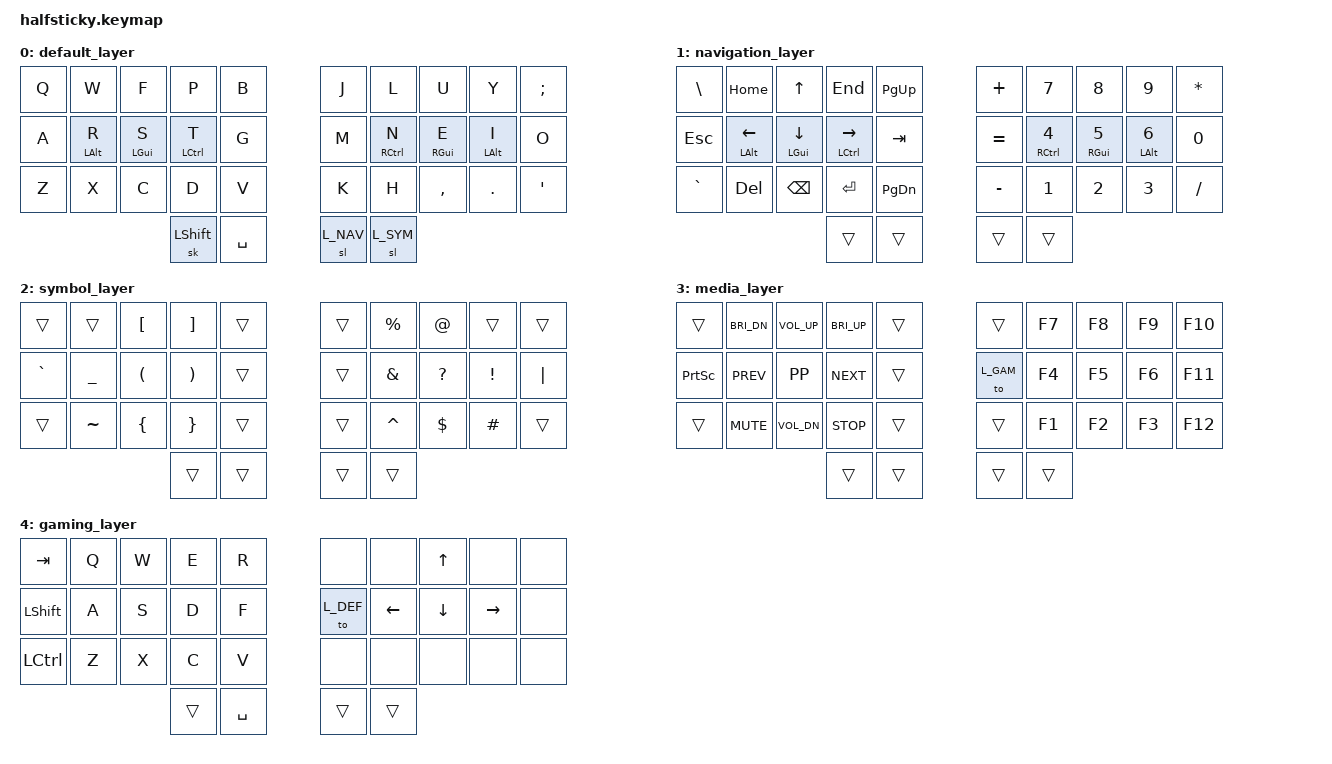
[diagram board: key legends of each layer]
/*
 * Copyright (c) 2020 The ZMK Contributors
 *
 * SPDX-License-Identifier: MIT
 */

#include <behaviors.dtsi>
#include <dt-bindings/zmk/bt.h>
#include <dt-bindings/zmk/keys.h>

// GENERAL KEYS
#define GEN_NONE &none
#define GEN_TRAN &trans

// DEFAULT LAYER

#define L_DEF 0

#define DEF_Q &kp Q
#define DEF_W &kp W
#define DEF_F &kp F
#define DEF_P &kp P
#define DEF_B &kp B
                        
#define DEF_A &kp A 
#define DEF_R &mt LALT R 
#define DEF_S &mt LGUI S
#define DEF_T &mt LCTRL T 
#define DEF_G &kp G
        
#define DEF_Z &kp Z
#define DEF_X &kp X
#define DEF_C &kp C
#define DEF_D &kp D
#define DEF_V &kp V
                        

#define DEF_J &kp J
#define DEF_L &kp L
#define DEF_U &kp U
#define DEF_Y &kp Y
#define DEF_SEMI &kp SEMI

#define DEF_K &kp K
#define DEF_H &kp H
#define DEF_COMA &kp COMMA
#define DEF_DOT &kp DOT
#define DEF_QUOT &kp SQT

#define DEF_M &kp M
#define DEF_N &mt RCTL N
#define DEF_E &mt RGUI E
#define DEF_I &mt LALT I 
#define DEF_O &kp O

#define DEF_TAB &sk LSHIFT
#define DEF_SPC &kp SPC
#define DEF_BSPC &sl L_NAV
#define DEF_RET &sl L_SYM

// NAVIGATION LAYER
#define L_NAV 1

#define NAV_BSLH &kp BSLH
#define NAV_HOME &kp HOME
#define NAV_UP &kp UP
#define NAV_END &kp END
#define NAV_PGUP &kp PG_UP

#define NAV_ESC &kp ESC
#define NAV_LEFT &mt LALT LEFT
#define NAV_DOWN &mt LGUI DOWN
#define NAV_RGHT &mt LCTRL RIGHT
#define NAV_TAB &kp TAB

#define NAV_GRV &kp GRAVE
#define NAV_DEL &kp DEL
#define NAV_BSPC &kp BSPC
#define NAV_RET &kp RET
#define NAV_PGDN &kp PG_DN

#define NUM_PLUS &kp PLUS
#define NUM_N7 &kp N7 
#define NUM_N8 &kp N8
#define NUM_N9 &kp N9
#define NUM_AST &kp ASTERISK 

#define NUM_EQUL &kp EQUAL
#define NUM_N4 &mt RCTRL N4
#define NUM_N5 &mt RGUI N5
#define NUM_N6 &mt LALT N6
#define NUM_N0 &kp N0

#define NUM_MIN &kp MINUS
#define NUM_N1 &kp N1
#define NUM_N2 &kp N2
#define NUM_N3 &kp N3
#define NUM_FSLH &kp FSLH

// SYMBOLS LAYER
#define L_SYM 2
// ()?_![]{}`~\|@#$%^&
// -*+/=1234567890

#define SYM_LBKT &kp LBKT
#define SYM_RBKT &kp RBKT

#define SYM_GRV &kp GRAVE
#define SYM_UNDR &kp UNDER
#define SYM_LPAR &kp LPAR
#define SYM_RPAR &kp RPAR

#define SYM_TLDE &kp TILDE
#define SYM_LBRC &kp LBRC
#define SYM_RBRC &kp RBRC


#define SYM_PER &kp PERCENT
#define SYM_AT &kp AT

#define SYM_AND &kp AMPERSAND
#define SYM_QUES &kp QUESTION
#define SYM_EXCL &kp EXCLAMATION
#define SYM_PIPE &kp PIPE

#define SYM_CAR &kp CARET
#define SYM_DOL &kp DOLLAR
#define SYM_HASH &kp HASH

// MEDIA LAYER
#define L_MED 3

#define MED_BRID &kp C_BRI_DN
#define MED_VOLU &kp C_VOL_UP
#define MED_BRIU &kp C_BRI_UP


#define MED_PRNT &kp PSCRN
#define MED_PREV &kp C_PREV
#define MED_PLAY &kp K_PP
#define MED_NEXT &kp C_NEXT

#define MED_MUTE &kp C_MUTE
#define MED_VOLD &kp C_VOL_DN
#define MED_STOP &kp C_STOP

#define FUN_F7 &kp F7
#define FUN_F8 &kp F8
#define FUN_F9 &kp F9
#define FUN_F10 &kp F10

#define FUN_GAME &to L_GAM
#define FUN_F4 &kp F4
#define FUN_F5 &kp F5
#define FUN_F6 &kp F6
#define FUN_F11 &kp F11

#define FUN_BOOT &bootloader
#define FUN_F1 &kp F1
#define FUN_F2 &kp F2
#define FUN_F3 &kp F3
#define FUN_F13 &kp F12


// GAMING LAYER
#define L_GAM 4

#define GAM_TAB &kp TAB
#define GAM_Q &kp Q
#define GAM_W &kp W
#define GAM_E &kp E
#define GAM_R &kp R

#define GAM_LSFT &kp LSHIFT
#define GAM_A &kp A
#define GAM_S &kp S
#define GAM_D &kp D
#define GAM_F &kp F

#define GAM_LCTL &kp LCTRL
#define GAM_Z &kp Z
#define GAM_X &kp X
#define GAM_C &kp C
#define GAM_V &kp V


#define GAM_UP &kp UP

#define GAM_DEF &to L_DEF
#define GAM_LEFT &kp LEFT
#define GAM_DOWN &kp DOWN
#define GAM_RGHT &kp RIGHT

#define GAM_ESC &kp ESC
#define GAM_SPC &kp SPACE


&sk {
    release-after-ms = <1000>;
    quick-release;
};

&sl {
    release-after-ms = <1000>;
};

&mt {
  flavor = "tap-preferred";
  tapping_term_ms = <200>;
};

&lt {
  flavor = "tap-preferred";
  tapping_term_ms = <200>;
};

/ {
  combos {
    compatible = "zmk,combos";
    combo_bspc {
      timeout-ms = <50>;
      key-positions = <15 16>;
      bindings = <&kp BSPC>;
    };

    combo_ret {
      timeout-ms = <50>;
      key-positions = <13 14>;
      bindings = <&kp RET>;
    };

    combo_esc {
      timeout-ms = <50>;
      key-positions = <23 24>;
      bindings = <&kp ESC>;
    };

    combo_del {
      timeout-ms = <50>;
      key-positions = <25 26>;
      bindings = <&kp DEL>;
    };

    combo_bootloader {
      timeout-ms = <50>;
      key-positions = <0 20>;
      bindings = <&bootloader>;
    };

    combo_btclr {
      timeout-ms = <50>;
      key-positions = <2 22>;
      bindings = <&bt BT_CLR>;
    };
  };

  keymap {
    compatible = "zmk,keymap";

    default_layer {
      bindings = <
        DEF_Q    DEF_W    DEF_F    DEF_P    DEF_B          DEF_J    DEF_L    DEF_U    DEF_Y    DEF_SEMI
        DEF_A    DEF_R    DEF_S    DEF_T    DEF_G          DEF_M    DEF_N    DEF_E    DEF_I    DEF_O
        DEF_Z    DEF_X    DEF_C    DEF_D    DEF_V          DEF_K    DEF_H    DEF_COMA DEF_DOT  DEF_QUOT
                                   DEF_TAB  DEF_SPC        DEF_BSPC  DEF_RET
      >;
    };

    navigation_layer {
      bindings = <
        NAV_BSLH NAV_HOME NAV_UP   NAV_END  NAV_PGUP       NUM_PLUS NUM_N7    NUM_N8    NUM_N9    NUM_AST
        NAV_ESC  NAV_LEFT NAV_DOWN NAV_RGHT NAV_TAB        NUM_EQUL NUM_N4    NUM_N5    NUM_N6    NUM_N0
        NAV_GRV  NAV_DEL  NAV_BSPC NAV_RET  NAV_PGDN       NUM_MIN  NUM_N1    NUM_N2    NUM_N3    NUM_FSLH
                                   GEN_TRAN GEN_TRAN       GEN_TRAN GEN_TRAN
      >;
    };

    symbol_layer {
      bindings = <
        GEN_TRAN GEN_TRAN SYM_LBKT SYM_RBKT GEN_TRAN       GEN_TRAN SYM_PER  SYM_AT   GEN_TRAN GEN_TRAN
        SYM_GRV  SYM_UNDR SYM_LPAR SYM_RPAR GEN_TRAN       GEN_TRAN SYM_AND  SYM_QUES SYM_EXCL SYM_PIPE
        GEN_TRAN SYM_TLDE SYM_LBRC SYM_RBRC GEN_TRAN       GEN_TRAN SYM_CAR  SYM_DOL  SYM_HASH GEN_TRAN
                                   GEN_TRAN GEN_TRAN       GEN_TRAN GEN_TRAN
      >;
    };

    media_layer {
      bindings = <
        GEN_TRAN MED_BRID MED_VOLU MED_BRIU GEN_TRAN       GEN_TRAN FUN_F7   FUN_F8   FUN_F9   FUN_F10
        MED_PRNT MED_PREV MED_PLAY MED_NEXT GEN_TRAN       FUN_GAME FUN_F4   FUN_F5   FUN_F6   FUN_F11
        GEN_TRAN MED_MUTE MED_VOLD MED_STOP GEN_TRAN       GEN_TRAN FUN_F1   FUN_F2   FUN_F3   FUN_F13
                                   GEN_TRAN GEN_TRAN       GEN_TRAN GEN_TRAN
      >;
    };

    gaming_layer {
      bindings = <
        GAM_TAB  GAM_Q    GAM_W    GAM_E    GAM_R       GEN_NONE GEN_NONE GAM_UP   GEN_NONE GEN_NONE
        GAM_LSFT GAM_A    GAM_S    GAM_D    GAM_F       GAM_DEF  GAM_LEFT GAM_DOWN GAM_RGHT GEN_NONE
        GAM_LCTL GAM_Z    GAM_X    GAM_C    GAM_V       GEN_NONE GEN_NONE GEN_NONE GEN_NONE GEN_NONE
                                   GEN_TRAN GAM_SPC     GEN_TRAN GEN_TRAN
      >;
    };

    // empty_layer {
    //   bindings = <
    //     GEN_TRAN GEN_TRAN GEN_TRAN GEN_TRAN GEN_TRAN       GEN_TRAN GEN_TRAN GEN_TRAN GEN_TRAN GEN_TRAN
    //     GEN_TRAN GEN_TRAN GEN_TRAN GEN_TRAN GEN_TRAN       GEN_TRAN GEN_TRAN GEN_TRAN GEN_TRAN GEN_TRAN
    //     GEN_TRAN GEN_TRAN GEN_TRAN GEN_TRAN GEN_TRAN       GEN_TRAN GEN_TRAN GEN_TRAN GEN_TRAN GEN_TRAN
    //                                GEN_TRAN GEN_TRAN       GEN_TRAN GEN_TRAN
    //   >;
    // };

  };
};
